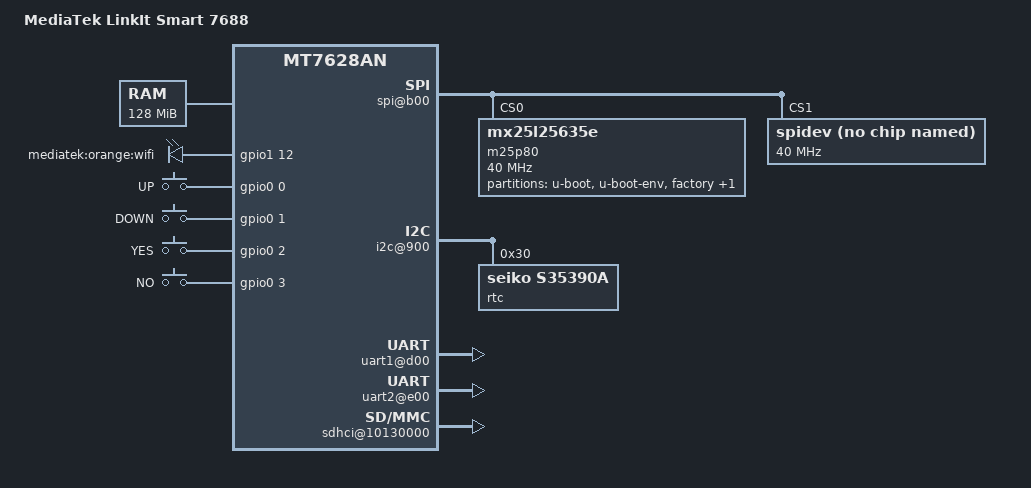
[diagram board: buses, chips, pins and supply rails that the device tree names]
/dts-v1/;

/include/ "mt7628an.dtsi"

/ {
	compatible = "mediatek,linkit", "mediatek,mt7628an-soc";
	model = "MediaTek LinkIt Smart 7688";

	chosen {
		bootargs = "console=ttyS2,115200";
	};

	memory@0 {
		device_type = "memory";
		reg = <0x0 0x8000000>;
	};

	pinctrl {
		state_default: pinctrl0 {
			gpio {
				ralink,group = "gpio";
				ralink,function = "gpio";
			};

			perst {
				ralink,group = "perst";
				ralink,function = "gpio";
			};

			refclk {
				ralink,group = "refclk";
				ralink,function = "gpio";
			};

			i2s {
				ralink,group = "i2s";
				ralink,function = "gpio";
			};

			spis {
				ralink,group = "spis";
				ralink,function = "gpio";
			};

			wled_kn {
				ralink,group = "wled_kn";
				ralink,function = "gpio";
			};

			wled_an {
				ralink,group = "wled_an";
				ralink,function = "gpio";
			};

			wdt {
				ralink,group = "wdt";
				ralink,function = "gpio";
			};
            
            p0led_an {
                ralink,group = "p0led_an";
                ralink,function = "p0led_an";
            };
                                                                                    
            p1led_an {
                ralink,group = "p1led_an";
                ralink,function = "gpio";
            };

            p2led_an {
                ralink,group = "p2led_an";
                ralink,function = "gpio";
            };

            p3led_an {
                ralink,group = "p3led_an";
                ralink,function = "gpio";
            };

            p4led_an {
                ralink,group = "p4led_an";
                ralink,function = "gpio";
            };

			pwm0 {
				ralink,group = "pwm0";
				ralink,function = "gpio";
			};

			pwm1 {
				ralink,group = "pwm1";
				ralink,function = "gpio";
			};

		};
	};

	palmbus@10000000 {
		spi@b00 {
			status = "okay";

			pinctrl-names = "default";
			pinctrl-0 = <&spi_pins>, <&spi_cs1_pins>;

			m25p80@0 {
				#address-cells = <1>;
				#size-cells = <1>;
				compatible = "mx25l25635e";
				reg = <0 0>;
				linux,modalias = "m25p80", "mx25l25635e";
				spi-max-frequency = <40000000>;
				m25p,chunked-io = <31>;

				partition@0 {
					label = "u-boot";
					reg = <0x0 0x30000>;
					read-only;
				};

				partition@30000 {
					label = "u-boot-env";
					reg = <0x30000 0x10000>;
				};

				factory: partition@40000 {
					label = "factory";
					reg = <0x40000 0x10000>;
				};

				partition@50000 {
					label = "firmware";
					reg = <0x50000 0x1fb0000>;
				};
			};

			spidev@1 {
				#address-cells = <1>;
				#size-cells = <1>;
				compatible = "spidev";
				reg = <1 0>;
				spi-max-frequency = <40000000>;
			};
		};

		i2c@900 {
			status = "okay";

            rtc@30 {   
                compatible = "seiko,s35390a";
                reg = <0x30>;
            };
		};

		uart1@d00 {
			status = "okay";
		};

        uart2@e00 {
			status = "okay";
		};

		pwm@5000 {
			status = "disabled";
		};
	};

	ethernet@10100000 {
		mtd-mac-address = <&factory 0x28>;
	};

	sdhci@10130000 {
		status = "okay";
		mediatek,cd-low;
	};

	rawlcd {
		compatible = "rawlcd";
	};

	gpio-leds {
		compatible = "gpio-leds";
	
		wifi {
			label = "mediatek:orange:wifi";
			gpios = <&gpio1 12 0>;
			default-state = "on";
		};
	};

	gpio-keys-polled {
		compatible = "gpio-keys-polled";
		#address-cells = <1>;
		#size-cells = <0>;
		poll-interval = <100>;
	
		up {
			label = "UP";
			gpios = <&gpio0 0 0>;
			linux,code = <103>;
		};

		down {
			label = "DOWN";
			gpios = <&gpio0 1 0>;
			linux,code = <108>;
		};

		yes {
			label = "YES";
			gpios = <&gpio0 2 0>;
			linux,code = <21>;
		};

		no {
			label = "NO";
			gpios = <&gpio0 3 0>;
			linux,code = <49>;
		};
	};

};
